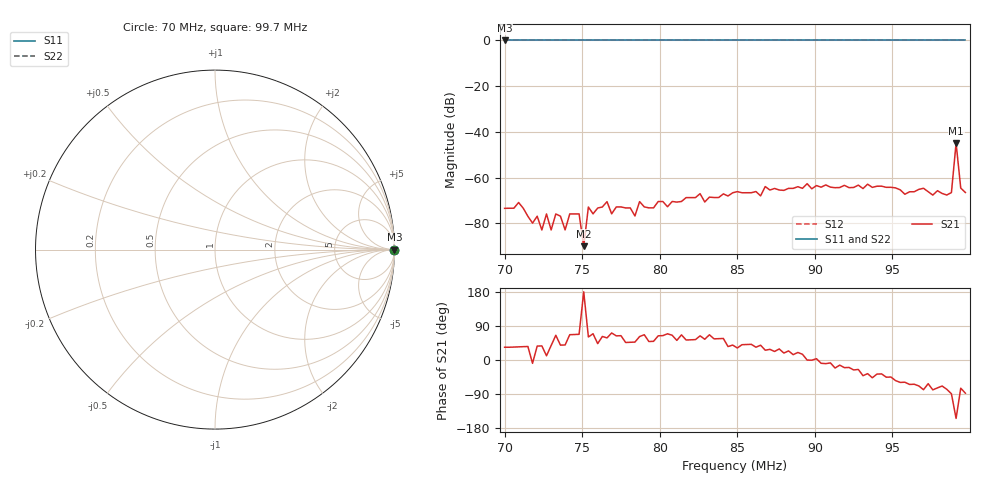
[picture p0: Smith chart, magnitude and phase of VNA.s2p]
! created by knguyen at Fri Feb 13 14:22:46 CST 2015
! generated using vna/J Version 3.1.3
# Hz S DB R 50
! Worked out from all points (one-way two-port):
!   100 points, 70 MHz to 99.7 MHz, reference 50 ohm
!   highest |S21| = -44.90 dB at 99.1 MHz (marker M1); lowest = -90.0 dB at 75.1 MHz (marker M2)
!   lowest |S11| = 0.0 dB at 70 MHz (marker M3)
!   |S11| at or under -10 dB: nowhere
!   |S22| runs from 0.0 to 0.0 dB; largest |S21 - S12| = 1
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7e7  0.00 0.0  -73.45 33.7  0.00 0.0  0.00 0.0
7.09e7  0.00 0.0  -70.89 34.7  0.00 0.0  0.00 0.0
7.18e7  0.00 0.0  -79.91 -8.8  0.00 0.0  0.00 0.0
7.33e7  0.00 0.0  -75.91 65.3  0.00 0.0  0.00 0.0
7.39e7  0.00 0.0  -82.89 39.7  0.00 0.0  0.00 0.0
7.48e7  0.00 0.0  -75.88 67.8  0.00 0.0  0.00 0.0
7.51e7  0.00 0.0  -90.00 180.0  0.00 0.0  0.00 0.0
7.54e7  0.00 0.0  -72.86 60.7  0.00 0.0  0.00 0.0
7.57e7  0.00 0.0  -75.87 69.3  0.00 0.0  0.00 0.0
7.66e7  0.00 0.0  -70.54 58.3  0.00 0.0  0.00 0.0
7.69e7  0.00 0.0  -75.85 71.3  0.00 0.0  0.00 0.0
7.75e7  0.00 0.0  -72.83 64.2  0.00 0.0  0.00 0.0
7.84e7  0.00 0.0  -76.79 47.3  0.00 0.0  0.00 0.0
7.87e7  0.00 0.0  -70.50 61.8  0.00 0.0  0.00 0.0
7.99e7  0.00 0.0  -70.47 63.8  0.00 0.0  0.00 0.0
8.5e7  0.00 0.0  -66.13 31.7  0.00 0.0  0.00 0.0
8.98e7  0.00 0.0  -64.90 -0.5  0.00 0.0  0.00 0.0
9.49e7  0.00 0.0  -64.24 -44.9  0.00 0.0  0.00 0.0
9.88e7  0.00 0.0  -66.55 -89.1  0.00 0.0  0.00 0.0
9.91e7  0.00 0.0  -44.90 -154.2  0.00 0.0  0.00 0.0
9.94e7  0.00 0.0  -64.58 -74.4  0.00 0.0  0.00 0.0
9.97e7  0.00 0.0  -66.52 -87.6  0.00 0.0  0.00 0.0
